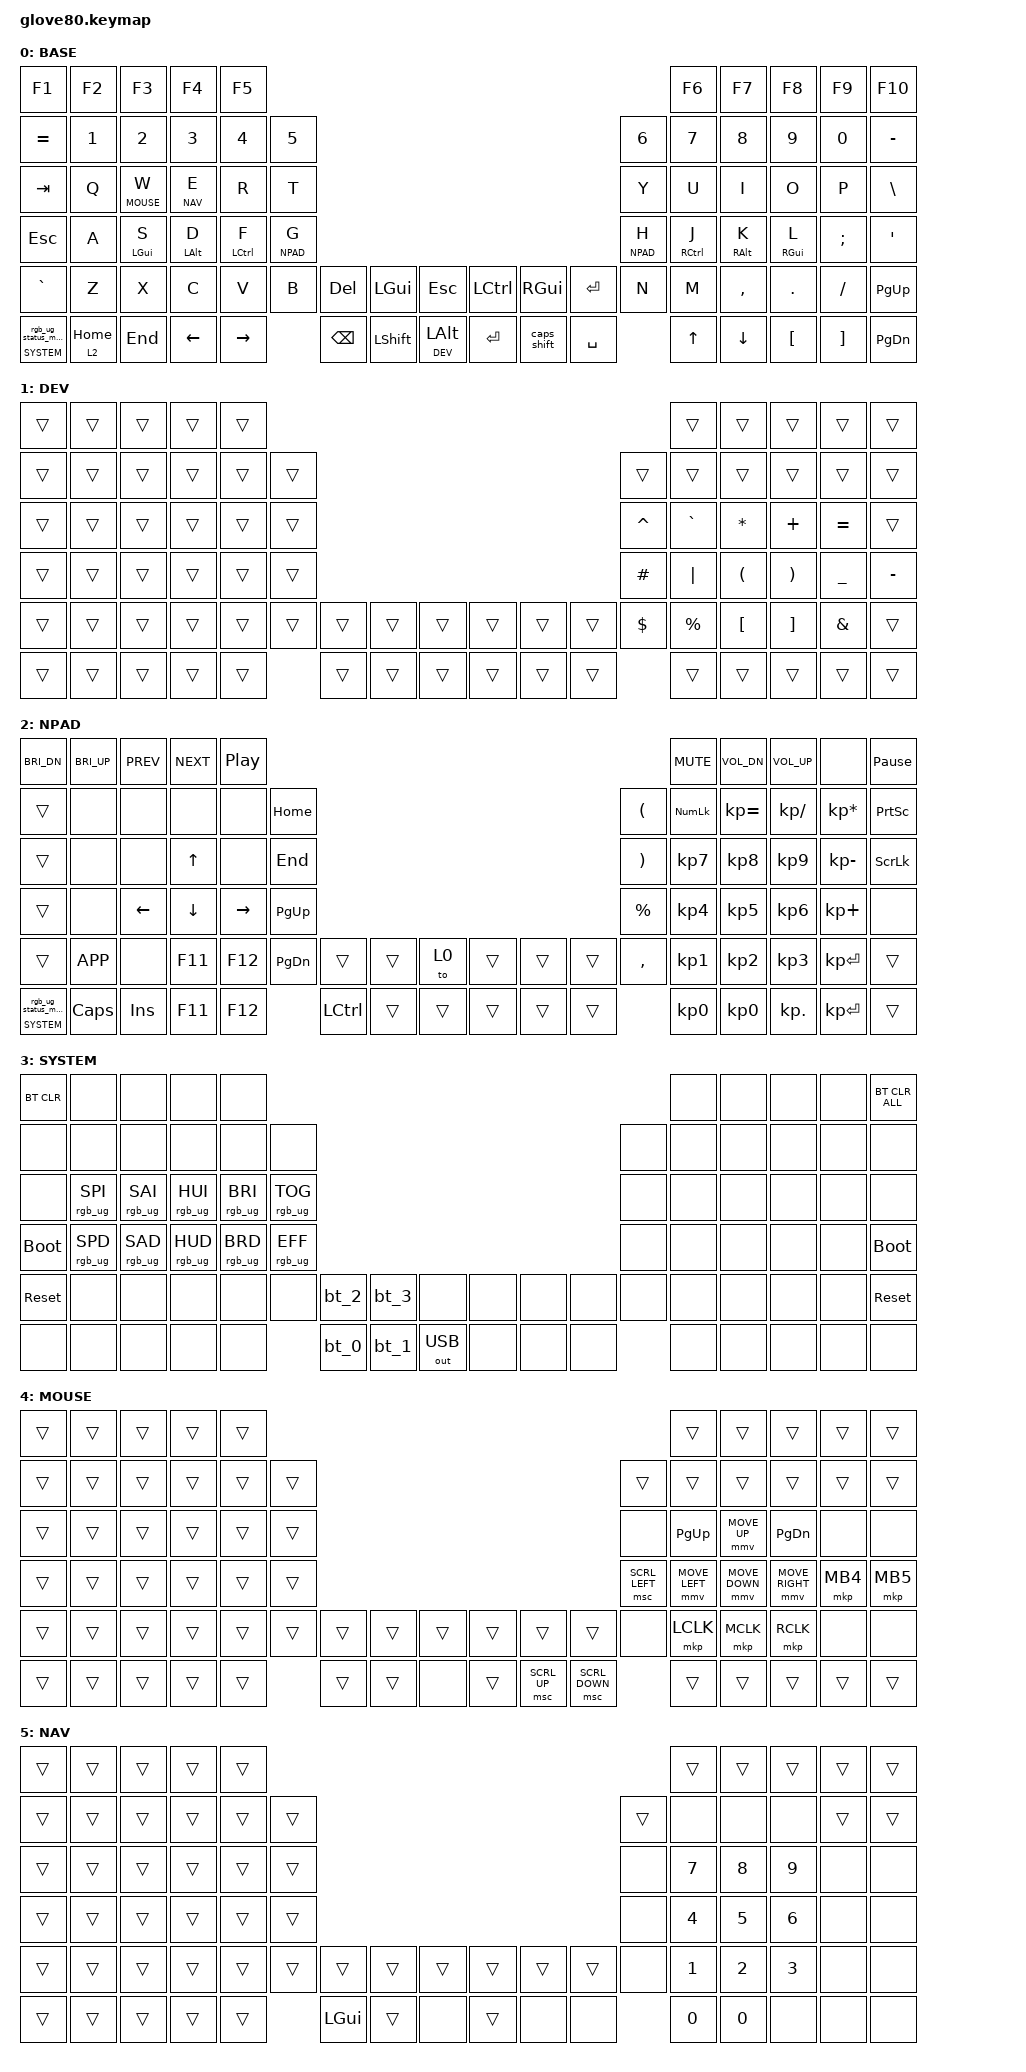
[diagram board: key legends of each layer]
/*
 * Copyright (c) 2020 The ZMK Contributors
 * Copyright (c) 2025 Innaworks Development Limited, trading as MoErgo
 *
 * SPDX-License-Identifier: MIT
 */

// Key position definitions for home row mods
#define KEYS_L 4 3 2 1 0 14 13 12 11 10 26 25 24 23 22 38 37 36 35 34 50 49 48 47 46  // Left-hand keys by number
#define KEYS_R 5 6 7 8 9 17 18 19 20 21 29 30 31 32 33 41 42 43 44 45 59 60 61 62 63  // Right-hand keys by number  
#define THUMBS_L 71 70 69                                                             // Left thumb keys (LH0 LH1 LH2)
#define THUMBS_R 72 73 74                                                             // Right thumb keys (RH0 RH1 RH2)

#include <behaviors.dtsi>
#include <dt-bindings/zmk/keys.h>
#include <dt-bindings/zmk/bt.h>
#include <dt-bindings/zmk/ext_power.h>
#include <dt-bindings/zmk/outputs.h>
#include <dt-bindings/zmk/rgb.h>
#include <dt-bindings/zmk/mouse.h>
#include "shared_behaviors.dtsi"

/ {

    macros {
        rgb_ug_status_macro: rgb_ug_status_macro {
            label = "RGB_UG_STATUS";
            compatible = "zmk,behavior-macro";
            #binding-cells = <0>;
            bindings
                = <&rgb_ug RGB_STATUS>;
        };
    };

    behaviors {
        magic: magic {
            compatible = "zmk,behavior-hold-tap";
            #binding-cells = <2>;
            flavor = "tap-preferred";
            tapping-term-ms = <200>;
            bindings = <&mo>, <&rgb_ug_status_macro>;
        };
    };

    keymap {
        compatible = "zmk,keymap";
        BASE {
            display-name = "BASE";
            bindings = <
   &kp F1           &kp F2           &kp F3           &kp F4           &kp F5                                                                                                                          &kp F6          &kp F7          &kp F8           &kp F9           &kp F10
   &kp EQUAL        &kp N1           &kp N2           &kp N3           &kp N4           &kp N5                                                                                         &kp N6          &kp N7          &kp N8          &kp N9           &kp N0           &kp MINUS
   &kp TAB          &kp Q            &ltl MOUSE W     &ltl NAV E       &kp R            &kp T                                                                                          &kp Y           &kp U           &kp I           &kp O            &kp P            &kp BSLH
   &kp ESC          &kp A            &hml LGUI S      &hml LALT D      &hml LCTRL F     &ltl NPAD G                                                                                    &ltr NPAD H     &hmr RCTRL J    &hmr RALT K     &hmr RGUI L      &kp SEMI         &kp SQT
   &kp GRAVE        &kp Z            &kp X            &kp C            &kp V            &kp B            &kp DEL    &kp LGUI   &kp ESC        &kp LCTRL  &kp RGUI      &kp RET         &kp N           &kp M           &kp COMMA       &kp DOT          &kp FSLH         &kp PG_UP
   &magic SYSTEM 0  &lt 2 HOME       &kp END          &kp LEFT         &kp RIGHT                         &kp BSPC   &kp LSHFT  &ltl DEV LALT  &kp RET    &caps_shift   &kp SPACE                       &kp UP          &kp DOWN        &kp LBKT         &kp RBKT         &kp PG_DN
            >;
        };
        DEV {
            display-name = "DEV";
            bindings = <
   &trans           &trans           &trans           &trans           &trans                                                                                                                          &trans          &trans          &trans           &trans           &trans
   &trans           &trans           &trans           &trans           &trans           &trans                                                                                         &trans          &trans          &trans          &trans           &trans           &trans
   &trans           &trans           &trans           &trans           &trans           &trans                                                                                         &kp CARET       &kp GRAVE       &kp STAR        &kp PLUS         &kp EQUAL        &trans
   &trans           &trans           &trans           &trans           &trans           &trans                                                                                         &kp HASH        &kp PIPE        &kp LPAR        &kp RPAR         &kp UNDERSCORE   &kp MINUS
   &trans           &trans           &trans           &trans           &trans           &trans           &trans     &trans     &trans         &trans     &trans        &trans          &kp DOLLAR      &kp PERCENT     &kp LBKT        &kp RBKT         &kp AMPERSAND    &trans
   &trans           &trans           &trans           &trans           &trans                            &trans     &trans     &trans         &trans     &trans        &trans                          &trans          &trans          &trans           &trans           &trans
            >;
        };
        NPAD {
            display-name = "NPAD";
            bindings = <
   &kp C_BRI_DN     &kp C_BRI_UP     &kp C_PREV       &kp C_NEXT       &kp C_PP                                                                                                                        &kp C_MUTE      &kp C_VOL_DN    &kp C_VOL_UP     &none            &kp PAUSE_BREAK
   &trans           &none            &none            &none            &none            &kp HOME                                                                                       &kp LPAR        &kp KP_NUM      &kp KP_EQUAL    &kp KP_SLASH     &kp KP_MULTIPLY  &kp PRINTSCREEN
   &trans           &none            &none            &kp UP_ARROW     &none            &kp END                                                                                        &kp RPAR        &kp KP_N7       &kp KP_N8       &kp KP_N9        &kp KP_MINUS     &kp SCROLLLOCK
   &trans           &none            &kp LEFT_ARROW   &kp DOWN_ARROW   &kp RIGHT_ARROW  &kp PG_UP                                                                                      &kp PERCENT     &kp KP_N4       &kp KP_N5       &kp KP_N6        &kp KP_PLUS      &none
   &trans           &kp K_APP        &none            &kp F11          &kp F12          &kp PG_DN        &trans     &trans     &to 0          &trans     &trans        &trans          &kp COMMA       &kp KP_N1       &kp KP_N2       &kp KP_N3        &kp KP_ENTER     &trans
   &magic SYSTEM 0  &kp CAPS         &kp INS          &kp F11          &kp F12                           &kp LCTRL  &trans     &trans         &trans     &trans        &trans                          &kp KP_N0       &kp KP_N0       &kp KP_DOT       &kp KP_ENTER     &trans
            >;
        };
        SYSTEM {
            display-name = "SYSTEM";
            bindings = <
   &bt BT_CLR       &none            &none            &none            &none                                                                                                                           &none           &none           &none            &none            &bt BT_CLR_ALL
   &none            &none            &none            &none            &none            &none                                                                                          &none           &none           &none           &none            &none            &none
   &none            &rgb_ug RGB_SPI  &rgb_ug RGB_SAI  &rgb_ug RGB_HUI  &rgb_ug RGB_BRI  &rgb_ug RGB_TOG                                                                                &none           &none           &none           &none            &none            &none
   &bootloader      &rgb_ug RGB_SPD  &rgb_ug RGB_SAD  &rgb_ug RGB_HUD  &rgb_ug RGB_BRD  &rgb_ug RGB_EFF                                                                                &none           &none           &none           &none            &none            &bootloader
   &sys_reset       &none            &none            &none            &none            &none            &bt_2      &bt_3      &none          &none      &none         &none           &none           &none           &none           &none            &none            &sys_reset
   &none            &none            &none            &none            &none                             &bt_0      &bt_1      &out OUT_USB   &none      &none         &none                           &none           &none           &none            &none            &none
            >;
        };
        MOUSE {
            display-name = "MOUSE";
            bindings = <
   &trans           &trans           &trans           &trans           &trans                                                                                                                          &trans          &trans          &trans           &trans           &trans
   &trans           &trans           &trans           &trans           &trans           &trans                                                                                         &trans          &trans          &trans          &trans           &trans           &trans
   &trans           &trans           &trans           &trans           &trans           &trans                                                                                         &none           &kp PG_UP       &mmv MOVE_UP    &kp PG_DN        &none            &none
   &trans           &trans           &trans           &trans           &trans           &trans                                                                                         &msc SCRL_LEFT  &mmv MOVE_LEFT  &mmv MOVE_DOWN  &mmv MOVE_RIGHT  &mkp MB4         &mkp MB5
   &trans           &trans           &trans           &trans           &trans           &trans           &trans     &trans     &trans         &trans     &trans        &trans          &none           &mkp LCLK       &mkp MCLK       &mkp RCLK        &none            &none
   &trans           &trans           &trans           &trans           &trans                            &trans     &trans     &none          &trans     &msc SCRL_UP  &msc SCRL_DOWN                  &trans          &trans          &trans           &trans           &trans
            >;
        };
        NAV {
            display-name = "NAV";
            bindings = <
   &trans           &trans           &trans           &trans           &trans                                                                                                                          &trans          &trans          &trans           &trans           &trans
   &trans           &trans           &trans           &trans           &trans           &trans                                                                                         &trans          &none           &none           &none            &trans           &trans
   &trans           &trans           &trans           &trans           &trans           &trans                                                                                         &none           &kp N7          &kp N8          &kp N9           &none            &none
   &trans           &trans           &trans           &trans           &trans           &trans                                                                                         &none           &kp N4          &kp N5          &kp N6           &none            &none
   &trans           &trans           &trans           &trans           &trans           &trans           &trans     &trans     &trans         &trans     &trans        &trans          &none           &kp N1          &kp N2          &kp N3           &none            &none
   &trans           &trans           &trans           &trans           &trans                            &kp LGUI   &trans     &none          &trans     &none         &none                           &kp N0          &kp N0          &none            &none            &none
            >;
        };
    };
};
